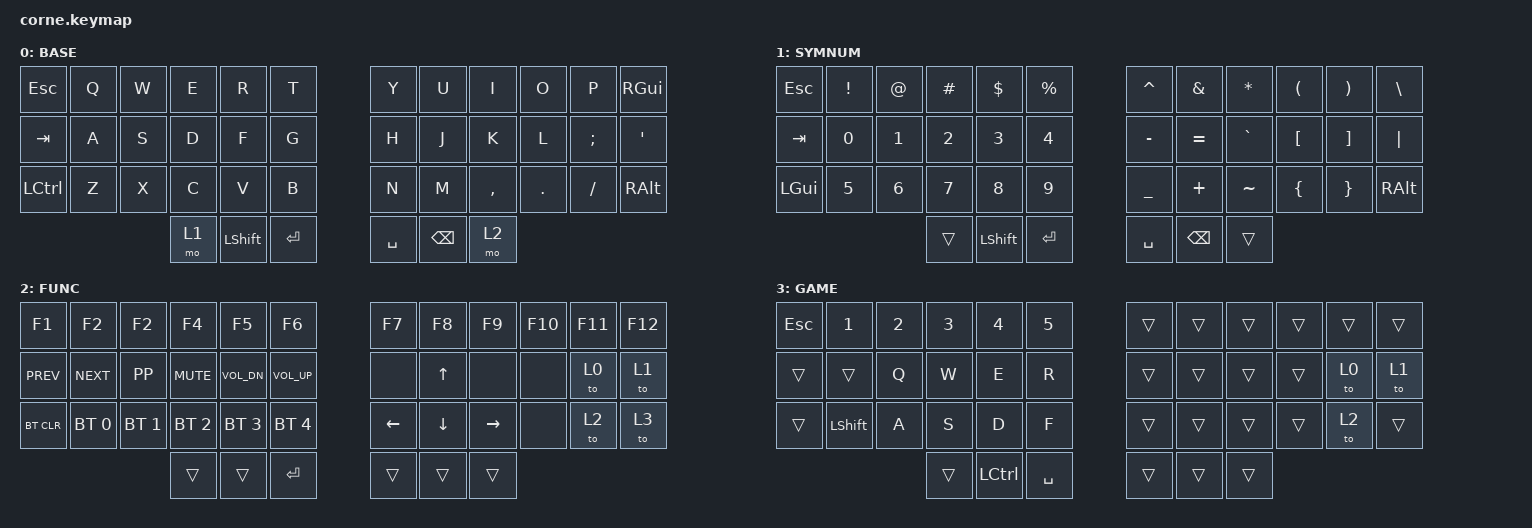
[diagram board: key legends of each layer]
/*
 * Copyright (c) 2020 The ZMK Contributors
 *
 * SPDX-License-Identifier: MIT
 */

#include <behaviors.dtsi>
#include <dt-bindings/zmk/bt.h>
#include <dt-bindings/zmk/keys.h>

/ {
    keymap {
        compatible = "zmk,keymap";

        BASE_LAYER {
            // -----------------------------------------------------------------------------------------
            // |  TAB |  Q  |  W  |  E  |  R  |  T  |   |  Y  |  U   |  I  |  O  |  P  | BKSP |
            // | CTRL |  A  |  S  |  D  |  F  |  G  |   |  H  |  J   |  K  |  L  |  ;  |  '   |
            // | SHFT |  Z  |  X  |  C  |  V  |  B  |   |  N  |  M   |  ,  |  .  |  /  | ESC  |
            //                    | GUI | LWR | SPC |   | ENT | RSE  | ALT |

            display-name = "BASE";
            bindings = <
&kp ESCAPE        &kp Q  &kp W  &kp E  &kp R           &kp T        &kp Y      &kp U          &kp I      &kp O    &kp P     &kp RIGHT_GUI
&kp TAB           &kp A  &kp S  &kp D  &kp F           &kp G        &kp H      &kp J          &kp K      &kp L    &kp SEMI  &kp SQT
&kp LEFT_CONTROL  &kp Z  &kp X  &kp C  &kp V           &kp B        &kp N      &kp M          &kp COMMA  &kp DOT  &kp FSLH  &kp RIGHT_ALT
                                &mo 1  &kp LEFT_SHIFT  &kp ENTER    &kp SPACE  &kp BACKSPACE  &mo 2
            >;
        };

        SYMNUM_LAYER {
            display-name = "SYMNUM";
            bindings = <
&kp ESCAPE    &kp EXCL  &kp AT        &kp HASH      &kp DLLR        &kp PRCNT       &kp CARET       &kp AMPERSAND  &kp ASTERISK  &kp LEFT_PARENTHESIS  &kp RIGHT_PARENTHESIS  &kp BACKSLASH
&kp TAB       &kp N0    &kp NUMBER_1  &kp NUMBER_2  &kp NUMBER_3    &kp NUMBER_4    &kp MINUS       &kp EQUAL      &kp GRAVE     &kp LEFT_BRACKET      &kp RIGHT_BRACKET      &kp PIPE
&kp LEFT_GUI  &kp N5    &kp NUMBER_6  &kp N7        &kp N8          &kp N9          &kp UNDERSCORE  &kp PLUS       &kp TILDE     &kp LEFT_BRACE        &kp RIGHT_BRACE        &kp RIGHT_ALT
                                      &trans        &kp LEFT_SHIFT  &kp ENTER       &kp SPACE       &kp BACKSPACE  &trans
            >;
        };

        FUNC_LAYER {
            display-name = "FUNC";
            bindings = <
&kp F1      &kp F2        &kp F2        &kp F4        &kp F5        &kp F6             &kp F7    &kp F8        &kp F9     &kp F10  &kp F11  &kp F12
&kp K_PREV  &kp K_NEXT    &kp K_PP      &kp K_MUTE    &kp C_VOL_DN  &kp C_VOLUME_UP    &none     &kp UP_ARROW  &none      &none    &to 0    &to 1
&bt BT_CLR  &bt BT_SEL 0  &bt BT_SEL 1  &bt BT_SEL 2  &bt BT_SEL 3  &bt BT_SEL 4       &kp LEFT  &kp DOWN      &kp RIGHT  &none    &to 2    &to 3
                                        &trans        &trans        &kp ENTER          &trans    &trans        &trans
            >;
        };

        GAME_LAYER {
            bindings = <
&kp ESCAPE  &kp NUMBER_1    &kp NUMBER_2  &kp NUMBER_3  &kp NUMBER_4  &kp N5       &trans  &trans  &trans  &trans  &trans  &trans
&trans      &trans          &kp Q         &kp W         &kp E         &kp R        &trans  &trans  &trans  &trans  &to 0   &to 1
&trans      &kp LEFT_SHIFT  &kp A         &kp S         &kp D         &kp F        &trans  &trans  &trans  &trans  &to 2   &trans
                                          &trans        &kp LCTRL     &kp SPACE    &trans  &trans  &trans
            >;

            label = "GAME";
        };
    };
};
